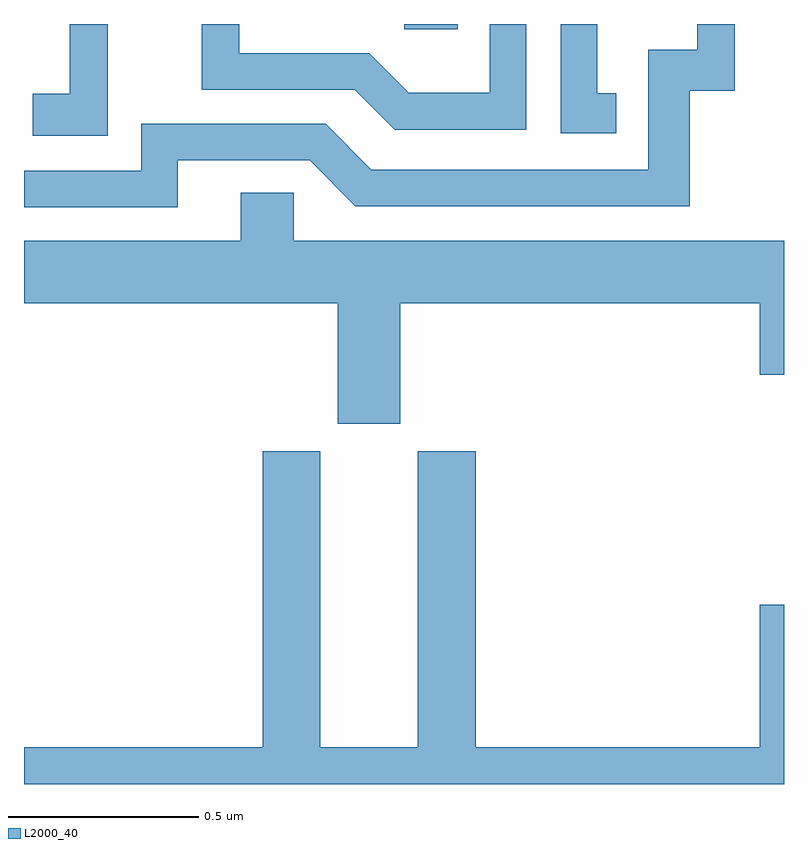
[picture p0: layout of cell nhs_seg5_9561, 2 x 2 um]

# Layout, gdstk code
import gdstk
lib = gdstk.Library(unit=1e-6, precision=1e-09)
def R(c, l, rs):  # rectangles x0, y0, x1, y1
    for r in rs: c.add(gdstk.rectangle(r[:2], r[2:], *l))
def P(c, l, *ps):  # polygons
    for p in ps: c.add(gdstk.Polygon(p, *l))
L2000_40 = (2000, 40)

nhs_seg5_9561 = lib.new_cell('nhs_seg5_9561')
R(nhs_seg5_9561, L2000_40, [(236.001,886.785,236.141,886.799)])
P(nhs_seg5_9561, L2000_40, [(236.558,886.617),(236.509,886.617),(236.509,886.799),(236.412,886.799),(236.412,886.512),(236.558,886.512)],
  [(235.221,886.711),(235.22,886.711),(235.22,886.799),(235.121,886.799),(235.121,886.615),(235.023,886.615),(235.023,886.505),(235.221,886.505)],
  [(235.405,886.44),(235.752,886.44),(235.872,886.32),(236.752,886.32),(236.752,886.623),(236.87,886.623),(236.87,886.799),(236.772,886.799),(236.772,886.731),(236.643,886.731),(236.643,886.416),(235.914,886.416),(235.794,886.536),(235.308,886.536),(235.308,886.413),(235,886.413),(235,886.317),(235.405,886.317)],
  [(236.322,886.799),(236.226,886.799),(236.226,886.618),(236.012,886.618),(235.908,886.722),(235.566,886.722),(235.566,886.799),(235.468,886.799),(235.468,886.626),(235.871,886.626),(235.976,886.521),(236.322,886.521)],
  [(235.99,886.064),(236.936,886.064),(236.936,885.876),(237,885.876),(237,886.228),(235.71,886.228),(235.71,886.355),(235.571,886.355),(235.571,886.228),(235,886.228),(235,886.064),(235.826,886.064),(235.826,885.747),(235.99,885.747)],
  [(237,885.271),(236.936,885.271),(236.936,884.896),(236.189,884.896),(236.189,885.675),(236.036,885.675),(236.036,884.896),(235.78,884.896),(235.78,885.675),(235.628,885.675),(235.628,884.896),(235,884.896),(235,884.799),(237,884.799)])

lib.write_gds('nhs_seg5_9561.gds')
